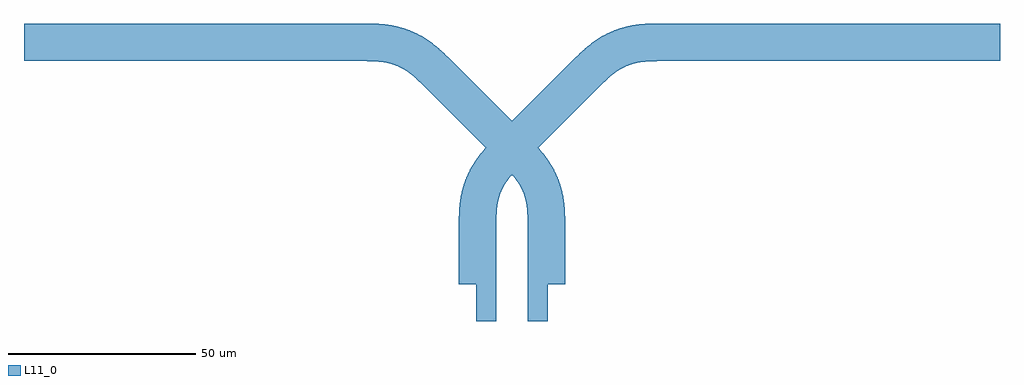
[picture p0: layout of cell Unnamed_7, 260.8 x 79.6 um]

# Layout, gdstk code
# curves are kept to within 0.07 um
from math import pi, radians
import gdstk
lib = gdstk.Library(unit=1e-6, precision=1e-09)
def P(c, l, *ps):  # polygons
    for p in ps: c.add(gdstk.Polygon(p, *l))
L11_0 = (11, 0)

unnamed_10 = lib.new_cell('Unnamed_10')
P(unnamed_10, L11_0, [(17.393,-12.204),(14.876,-9.759),(13.118,-8.274),(11.507,-7.187),(9.662,-6.27),(7.709,-5.614),(5.646,-5.223),(3.16,-5.036),(0,-5),(0,5),(4.172,4.93),(7.37,4.635),(10.234,4.062),(13.034,3.152),(15.707,1.92),(18.413,0.244),(20.966,-1.788),(23.614,-4.286),(24.464,-5.133)])

unnamed_11 = lib.new_cell('Unnamed_11')
P(unnamed_11, L11_0, [(0,-5),(0,5),(15,5),(15,0.4),(25,0.4),(25,-5)])

unnamed_9 = lib.new_cell('Unnamed_9')
P(unnamed_9, L11_0, [(127.393,-32.204),(104.622,-9.528),(103.118,-8.274),(101.507,-7.187),(99.798,-6.327),(98.135,-5.732),(95.332,-5.186),(91.531,-5.004),(0,-5),(0,5),(92.025,4.992),(94.615,4.906),(96.9,4.698),(99.04,4.342),(100.944,3.865),(103.489,2.969),(106.138,1.684),(108.413,0.244),(110.796,-1.64),(113.614,-4.286),(134.464,-25.133)])

unnamed_8 = lib.new_cell('Unnamed_8')
unnamed_8.add(gdstk.Reference(unnamed_10, (130.928,-28.669), rotation=radians(315)))
unnamed_8.add(gdstk.Reference(unnamed_11, (139.597,-49.597), rotation=3*pi/2))
unnamed_8.add(gdstk.Reference(unnamed_9, (0,0)))

unnamed_7 = lib.new_cell('Unnamed_7')
unnamed_7.add(gdstk.Reference(unnamed_8, (260.8,0), rotation=pi, x_reflection=True))
unnamed_7.add(gdstk.Reference(unnamed_8, (0,0)))

lib.write_gds('Unnamed_7.gds')
